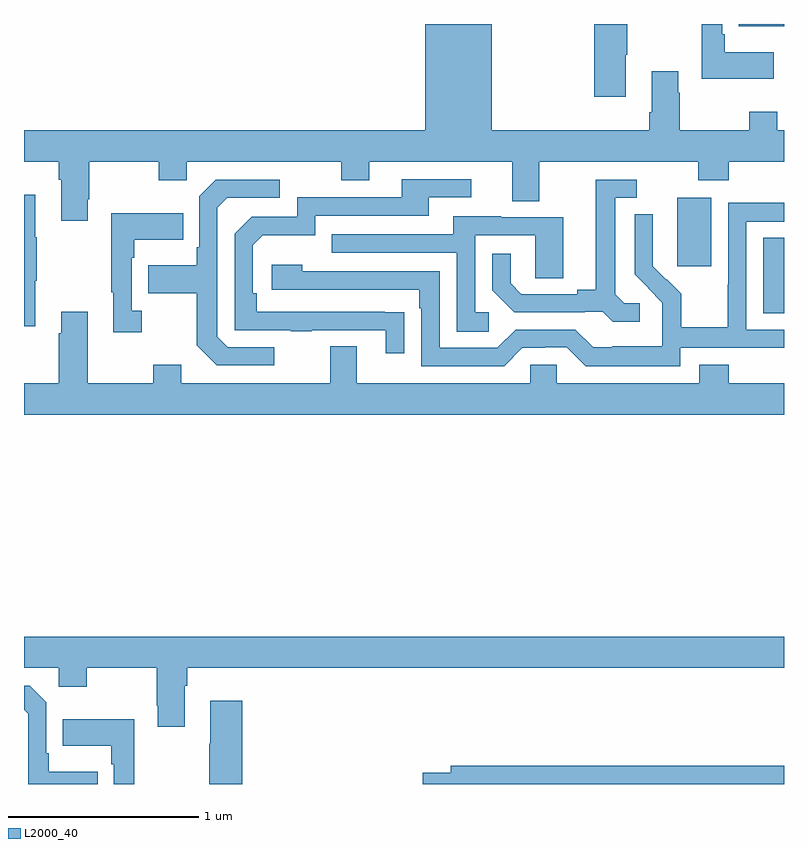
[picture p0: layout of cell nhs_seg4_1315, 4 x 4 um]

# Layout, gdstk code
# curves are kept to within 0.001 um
import gdstk
lib = gdstk.Library(unit=1e-6, precision=1e-09)
def R(c, l, rs):  # rectangles x0, y0, x1, y1
    for r in rs: c.add(gdstk.rectangle(r[:2], r[2:], *l))
def P(c, l, *ps):  # polygons
    for p in ps: c.add(gdstk.Polygon(p, *l))
L2000_40 = (2000, 40)

nhs_seg4_1315 = lib.new_cell('nhs_seg4_1315')
R(nhs_seg4_1315, L2000_40, [(182.891,773.377,183,773.774), (182.438,773.625,182.617,773.986), (182.761,774.887,183,774.9)])
P(nhs_seg4_1315, L2000_40, [(179.335,773.977),(179.343,773.977),(179.343,774.176),(179.71,774.176),(179.71,774.077),(179.856,774.077),(179.856,774.176),(180.67,774.176),(180.67,774.077),(180.817,774.077),(180.817,774.176),(181.571,774.176),(181.571,773.968),(181.711,773.968),(181.711,774.176),(182.548,774.176),(182.548,774.077),(182.708,774.077),(182.708,774.176),(183,774.176),(183,774.34),(182.964,774.34),(182.964,774.439),(182.818,774.439),(182.818,774.34),(182.451,774.34),(182.451,774.539),(182.443,774.539),(182.443,774.652),(182.303,774.652),(182.303,774.436),(182.291,774.436),(182.291,774.34),(181.462,774.34),(181.462,774.9),(181.112,774.9),(181.112,774.34),(179,774.34),(179,774.176),(179.183,774.176),(179.183,774.08),(179.195,774.08),(179.195,773.865),(179.335,773.865)],
  [(182.945,774.751),(182.689,774.751),(182.689,774.847),(182.676,774.847),(182.676,774.9),(182.568,774.9),(182.568,774.611),(182.945,774.611)],
  [(182.167,774.739),(182.175,774.739),(182.175,774.9),(182,774.9),(182,774.516),(182.167,774.516)],
  [(181.001,773.384),(180.224,773.385),(180.224,773.482),(180.204,773.482),(180.204,773.736),(180.257,773.789),(180.534,773.789),(180.534,773.892),(181.129,773.892),(181.129,773.988),(181.354,773.988),(181.354,774.084),(180.989,774.084),(180.989,773.988),(180.438,773.988),(180.438,773.886),(180.198,773.886),(180.108,773.796),(180.108,773.289),(180.403,773.289),(180.403,773.284),(180.515,773.284),(180.515,773.289),(180.905,773.289),(180.905,773.166),(181.001,773.166)],
  [(182.242,773.43),(182.16,773.43),(182.113,773.477),(182.113,773.985),(182.224,773.985),(182.224,774.081),(182.009,774.081),(182.009,773.501),(181.913,773.501),(181.913,773.478),(181.618,773.478),(181.561,773.535),(181.561,773.692),(181.464,773.692),(181.464,773.498),(181.58,773.382),(181.952,773.382),(181.952,773.385),(182.046,773.385),(182.098,773.333),(182.242,773.333)],
  [(180.316,773.199),(180.072,773.199),(180.018,773.253),(180.018,773.934),(180.069,773.985),(180.346,773.985),(180.346,774.081),(180.009,774.081),(179.922,773.994),(179.922,773.725),(179.91,773.725),(179.91,773.629),(179.653,773.629),(179.653,773.482),(179.91,773.482),(179.91,773.209),(180.015,773.103),(180.316,773.103)],
  [(179.059,773.549),(179.067,773.549),(179.067,773.777),(179.059,773.777),(179.059,774.001),(179,774.001),(179,773.309),(179.059,773.309)],
  [(182.454,773.196),(183,773.196),(183,773.292),(182.802,773.292),(182.802,773.859),(183,773.859),(183,773.958),(182.706,773.958),(182.706,773.528),(182.704,773.528),(182.704,773.305),(182.459,773.305),(182.459,773.479),(182.382,773.556),(182.379,773.553),(182.309,773.624),(182.31,773.9),(182.214,773.9),(182.214,773.582),(182.36,773.434),(182.36,773.337),(182.358,773.337),(182.358,773.203),(182.095,773.203),(182.095,773.199),(181.995,773.199),(181.902,773.292),(181.587,773.292),(181.491,773.196),(181.188,773.196),(181.188,773.598),(180.464,773.598),(180.464,773.632),(180.303,773.632),(180.303,773.502),(181.079,773.502),(181.079,773.405),(181.092,773.405),(181.092,773.1),(181.527,773.1),(181.623,773.196),(181.742,773.196),(181.742,773.199),(181.857,773.199),(181.957,773.099),(182.454,773.099)],
  [(179.62,773.39),(179.568,773.39),(179.568,773.669),(179.581,773.669),(179.581,773.765),(179.837,773.765),(179.837,773.905),(179.46,773.905),(179.46,773.489),(179.471,773.489),(179.471,773.277),(179.62,773.277)],
  [(181.447,773.382),(181.374,773.382),(181.374,773.787),(181.692,773.787),(181.692,773.563),(181.837,773.563),(181.837,773.883),(181.513,773.883),(181.513,773.887),(181.259,773.887),(181.259,773.793),(180.619,773.793),(180.619,773.697),(181.278,773.697),(181.278,773.281),(181.447,773.281)],
  [(183,773.008),(182.708,773.008),(182.708,773.107),(182.555,773.107),(182.555,773.008),(181.803,773.008),(181.803,773.106),(181.665,773.106),(181.665,773.008),(180.751,773.008),(180.751,773.203),(180.611,773.203),(180.611,773.008),(179.827,773.008),(179.827,773.107),(179.68,773.107),(179.68,773.008),(179.335,773.008),(179.335,773.386),(179.195,773.386),(179.195,773.273),(179.183,773.273),(179.183,773.008),(179,773.008),(179,772.844),(183,772.844)],
  [(179.845,771.416),(179.858,771.416),(179.858,771.512),(183,771.512),(183,771.676),(179,771.676),(179,771.512),(179.184,771.512),(179.184,771.413),(179.331,771.413),(179.331,771.512),(179.698,771.512),(179.698,771.313),(179.705,771.313),(179.705,771.201),(179.845,771.201)],
  [(179.387,770.965),(179.131,770.965),(179.131,771.061),(179.118,771.061),(179.118,771.33),(179.031,771.417),(179,771.417),(179,771.292),(179.022,771.27),(179.022,770.9),(179.387,770.9)],
  [(180.149,771.337),(179.981,771.337),(179.981,771.113),(179.974,771.113),(179.974,770.9),(180.149,770.9)],
  [(179.581,771.241),(179.203,771.241),(179.203,771.101),(179.46,771.101),(179.46,771.005),(179.472,771.005),(179.472,770.9),(179.581,770.9)],
  [(183,770.996),(181.247,770.996),(181.247,770.96),(181.098,770.96),(181.098,770.9),(183,770.9)])

lib.write_gds('nhs_seg4_1315.gds')
